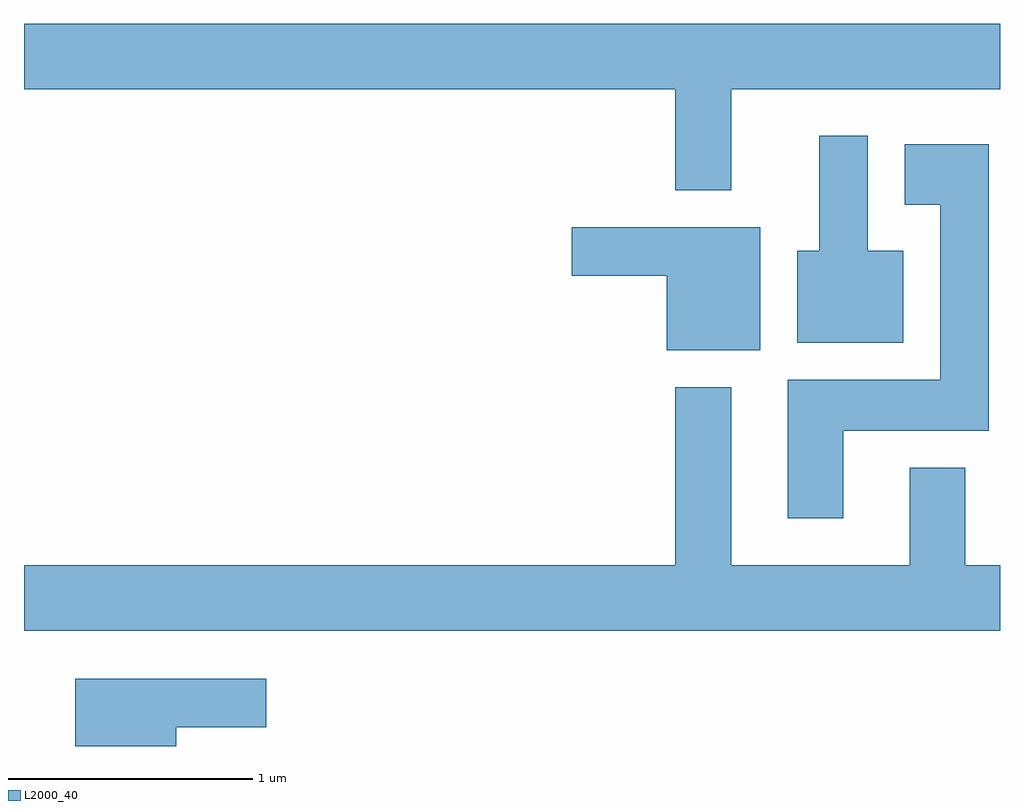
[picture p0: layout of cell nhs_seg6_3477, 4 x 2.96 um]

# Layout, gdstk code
import gdstk
lib = gdstk.Library(unit=1e-6, precision=1e-09)
def P(c, l, *ps):  # polygons
    for p in ps: c.add(gdstk.Polygon(p, *l))
L2000_40 = (2000, 40)

nhs_seg6_3477 = lib.new_cell('nhs_seg6_3477')
P(nhs_seg6_3477, L2000_40, [(292.509,1618.856),(293.611,1618.856),(293.611,1619.124),(289.611,1619.124),(289.611,1618.856),(292.281,1618.856),(292.281,1618.441),(292.509,1618.441)],
  [(293.214,1618.194),(293.069,1618.194),(293.069,1618.664),(292.871,1618.664),(292.871,1618.194),(292.781,1618.194),(292.781,1617.816),(293.214,1617.816)],
  [(292.969,1617.456),(293.564,1617.456),(293.564,1618.629),(293.221,1618.629),(293.221,1618.381),(293.366,1618.381),(293.366,1617.664),(292.741,1617.664),(292.741,1617.096),(292.969,1617.096)],
  [(292.629,1618.289),(291.856,1618.289),(291.856,1618.091),(292.246,1618.091),(292.246,1617.786),(292.629,1617.786)],
  [(293.611,1616.904),(293.469,1616.904),(293.469,1617.304),(293.241,1617.304),(293.241,1616.904),(292.509,1616.904),(292.509,1617.634),(292.281,1617.634),(292.281,1616.904),(289.611,1616.904),(289.611,1616.636),(293.611,1616.636)],
  [(290.234,1616.241),(290.604,1616.241),(290.604,1616.439),(289.821,1616.439),(289.821,1616.162),(290.234,1616.162)])

lib.write_gds('nhs_seg6_3477.gds')
